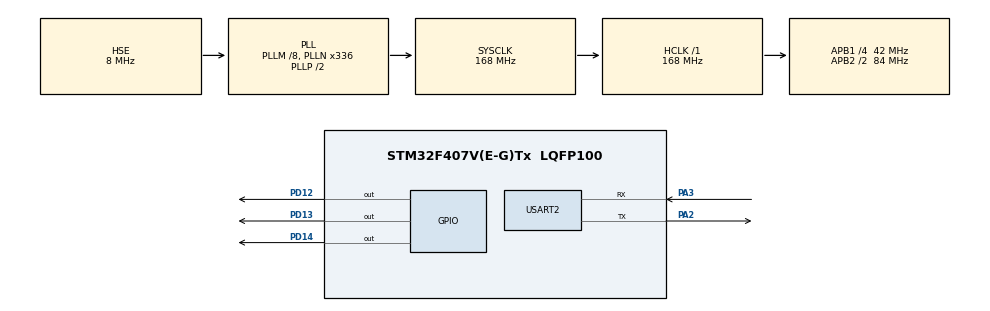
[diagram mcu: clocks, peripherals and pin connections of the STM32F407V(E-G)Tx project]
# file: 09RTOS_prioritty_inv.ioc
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FREERTOS.BinarySemaphores01=myBinarySem01,Dynamic,NULL,Available
FREERTOS.Tasks01=HPT,1,128,StartHPT,Default,NULL,Dynamic,NULL,NULL;MPT,0,128,StartMPT,Default,NULL,Dynamic,NULL,NULL;LPT,-1,128,StartLPT,Default,NULL,Dynamic,NULL,NULL
Mcu.Family=STM32F4
Mcu.Name=STM32F407V(E-G)Tx
Mcu.Package=LQFP100
NVIC.PriorityGroup=NVIC_PRIORITYGROUP_4
NVIC.USART2_IRQn=true\:5\:0\:false\:false\:true\:true\:true\:true\:true
PA13.Mode=Serial_Wire
PA13.Signal=SYS_JTMS-SWDIO
PA14.Mode=Serial_Wire
PA14.Signal=SYS_JTCK-SWCLK
PA2.Mode=Asynchronous
PA2.Signal=USART2_TX
PA3.Mode=Asynchronous
PA3.Signal=USART2_RX
PD12.Signal=GPIO_Output
PD13.Signal=GPIO_Output
PD14.Signal=GPIO_Output
PH0-OSC_IN.Mode=HSE-External-Oscillator
PH0-OSC_IN.Signal=RCC_OSC_IN
PH1-OSC_OUT.Mode=HSE-External-Oscillator
PH1-OSC_OUT.Signal=RCC_OSC_OUT
ProjectManager.HeapSize=0x200
ProjectManager.StackSize=0x400
ProjectManager.TargetToolchain=STM32CubeIDE
RCC.48MHZClocksFreq_Value=48000000
RCC.AHBFreq_Value=168000000
RCC.APB1CLKDivider=RCC_HCLK_DIV4
RCC.APB1Freq_Value=42000000
RCC.APB1TimFreq_Value=84000000
RCC.APB2CLKDivider=RCC_HCLK_DIV2
RCC.APB2Freq_Value=84000000
RCC.APB2TimFreq_Value=168000000
RCC.CortexFreq_Value=168000000
RCC.HCLKFreq_Value=168000000
RCC.HSE_VALUE=8000000
RCC.HSI_VALUE=16000000
RCC.PLLM=8
RCC.PLLN=336
RCC.PLLQ=7
RCC.PLLSourceVirtual=RCC_PLLSOURCE_HSE
RCC.SYSCLKFreq_VALUE=168000000
RCC.SYSCLKSource=RCC_SYSCLKSOURCE_PLLCLK
RCC.VCOOutputFreq_Value=336000000
USART2.VirtualMode=VM_ASYNC
VP_FREERTOS_VS_CMSIS_V1.Mode=CMSIS_V1
board=STM32F407G-DISC1

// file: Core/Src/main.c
/* USER CODE BEGIN Header */
/**
  ******************************************************************************
  * @file           : main.c
  * @brief          : Main program body
  ******************************************************************************
  * @attention
  *
  * Copyright (c) 2026 STMicroelectronics.
  * All rights reserved.
  *
  * This software is licensed under terms that can be found in the LICENSE file
  * in the root directory of this software component.
  * If no LICENSE file comes with this software, it is provided AS-IS.
  *
  ******************************************************************************
  */
/* USER CODE END Header */
#include "main.h"
#include "cmsis_os.h"

/* USER CODE BEGIN Includes */
#include "string.h"
/* USER CODE END Includes */

UART_HandleTypeDef huart2;

osThreadId HPTHandle;
osThreadId MPTHandle;
osThreadId LPTHandle;
osSemaphoreId myBinarySem01Handle;

void SystemClock_Config(void);
static void MX_GPIO_Init(void);
static void MX_USART2_UART_Init(void);
void StartHPT(void const * argument);
void StartMPT(void const * argument);
void StartLPT(void const * argument);

/* USER CODE BEGIN 0 */
void send_uart(char *str)
{
	osSemaphoreWait(myBinarySem01Handle, osWaitForever);
	osDelay(5000);
	HAL_UART_Transmit(&huart2, (uint8_t*)str,strlen(str), HAL_MAX_DELAY);
	osSemaphoreRelease(myBinarySem01Handle);
}

/* USER CODE END 0 */

int main(void)
{

  /* MCU Configuration--------------------------------------------------------*/

  /* Reset of all peripherals, Initializes the Flash interface and the Systick. */
  HAL_Init();

  /* Configure the system clock */
  SystemClock_Config();

  /* Initialize all configured peripherals */
  MX_GPIO_Init();
  MX_USART2_UART_Init();

  /* Create the semaphores(s) */
  /* definition and creation of myBinarySem01 */
  osSemaphoreDef(myBinarySem01);
  myBinarySem01Handle = osSemaphoreCreate(osSemaphore(myBinarySem01), 1);

  /* USER CODE BEGIN RTOS_SEMAPHORES */
  /* add semaphores, ... */
 if(myBinarySem01Handle  != NULL)
{
  char str[] = "BENARY SEMAPHORE CREATED\r\n";
  HAL_UART_Transmit(&huart2, (uint8_t*)str,strlen(str), HAL_MAX_DELAY);
 }

 osSemaphoreWait(myBinarySem01Handle, osWaitForever);

  /* USER CODE END RTOS_SEMAPHORES */

  /* Create the thread(s) */
  /* definition and creation of HPT */
  osThreadDef(HPT, StartHPT, osPriorityAboveNormal, 0, 128);
  HPTHandle = osThreadCreate(osThread(HPT), NULL);

  /* definition and creation of MPT */
  osThreadDef(MPT, StartMPT, osPriorityNormal, 0, 128);
  MPTHandle = osThreadCreate(osThread(MPT), NULL);

  /* definition and creation of LPT */
  osThreadDef(LPT, StartLPT, osPriorityBelowNormal, 0, 128);
  LPTHandle = osThreadCreate(osThread(LPT), NULL);

  /* USER CODE BEGIN RTOS_THREADS */
  /* add threads, ... */
  if(myBinarySem01Handle  != NULL)
   {
  	  char str[] = "BENARY SEMAPHORE CREATED\r\n";
	  HAL_UART_Transmit(&huart2, (uint8_t*)str,strlen(str), HAL_MAX_DELAY);
   }

  osSemaphoreRelease(myBinarySem01Handle);
  /* USER CODE END RTOS_THREADS */

  /* Start scheduler */
  osKernelStart();

  /* We should never get here as control is now taken by the scheduler */

  /* Infinite loop */
  while (1)
  {

  }
}

void SystemClock_Config(void)
{
  RCC_OscInitTypeDef RCC_OscInitStruct = {0};
  RCC_ClkInitTypeDef RCC_ClkInitStruct = {0};

  /** Configure the main internal regulator output voltage
  */
  __HAL_RCC_PWR_CLK_ENABLE();
  __HAL_PWR_VOLTAGESCALING_CONFIG(PWR_REGULATOR_VOLTAGE_SCALE1);

  /** Initializes the RCC Oscillators according to the specified parameters
  * in the RCC_OscInitTypeDef structure.
  */
  RCC_OscInitStruct.OscillatorType = RCC_OSCILLATORTYPE_HSE;
  RCC_OscInitStruct.HSEState = RCC_HSE_ON;
  RCC_OscInitStruct.PLL.PLLState = RCC_PLL_ON;
  RCC_OscInitStruct.PLL.PLLSource = RCC_PLLSOURCE_HSE;
  RCC_OscInitStruct.PLL.PLLM = 8;
  RCC_OscInitStruct.PLL.PLLN = 336;
  RCC_OscInitStruct.PLL.PLLP = RCC_PLLP_DIV2;
  RCC_OscInitStruct.PLL.PLLQ = 7;
  if (HAL_RCC_OscConfig(&RCC_OscInitStruct) != HAL_OK)
  {
    Error_Handler();
  }

  /** Initializes the CPU, AHB and APB buses clocks
  */
  RCC_ClkInitStruct.ClockType = RCC_CLOCKTYPE_HCLK|RCC_CLOCKTYPE_SYSCLK
                              |RCC_CLOCKTYPE_PCLK1|RCC_CLOCKTYPE_PCLK2;
  RCC_ClkInitStruct.SYSCLKSource = RCC_SYSCLKSOURCE_PLLCLK;
  RCC_ClkInitStruct.AHBCLKDivider = RCC_SYSCLK_DIV1;
  RCC_ClkInitStruct.APB1CLKDivider = RCC_HCLK_DIV4;
  RCC_ClkInitStruct.APB2CLKDivider = RCC_HCLK_DIV2;

  if (HAL_RCC_ClockConfig(&RCC_ClkInitStruct, FLASH_LATENCY_5) != HAL_OK)
  {
    Error_Handler();
  }
}

static void MX_USART2_UART_Init(void)
{

  huart2.Instance = USART2;
  huart2.Init.BaudRate = 115200;
  huart2.Init.WordLength = UART_WORDLENGTH_8B;
  huart2.Init.StopBits = UART_STOPBITS_1;
  huart2.Init.Parity = UART_PARITY_NONE;
  huart2.Init.Mode = UART_MODE_TX_RX;
  huart2.Init.HwFlowCtl = UART_HWCONTROL_NONE;
  huart2.Init.OverSampling = UART_OVERSAMPLING_16;
  if (HAL_UART_Init(&huart2) != HAL_OK)
  {
    Error_Handler();
  }

}

static void MX_GPIO_Init(void)
{
  GPIO_InitTypeDef GPIO_InitStruct = {0};

  /* GPIO Ports Clock Enable */
  __HAL_RCC_GPIOH_CLK_ENABLE();
  __HAL_RCC_GPIOA_CLK_ENABLE();
  __HAL_RCC_GPIOD_CLK_ENABLE();

  /*Configure GPIO pin Output Level */
  HAL_GPIO_WritePin(GPIOD, GPIO_PIN_12|GPIO_PIN_13|GPIO_PIN_14, GPIO_PIN_RESET);

  /*Configure GPIO pins : PD12 PD13 PD14 */
  GPIO_InitStruct.Pin = GPIO_PIN_12|GPIO_PIN_13|GPIO_PIN_14;
  GPIO_InitStruct.Mode = GPIO_MODE_OUTPUT_PP;
  GPIO_InitStruct.Pull = GPIO_NOPULL;
  GPIO_InitStruct.Speed = GPIO_SPEED_FREQ_LOW;
  HAL_GPIO_Init(GPIOD, &GPIO_InitStruct);

}

void StartHPT(void const * argument)
{
  /* USER CODE BEGIN 5 */
  /* Infinite loop */
	char *strtosend = "IN HTP -----------------------\r\n";
  for(;;)
  {
	  char *str = "ENTERED HPT\r\n";
	  HAL_UART_Transmit(&huart2, (uint8_t*)str,strlen(str), HAL_MAX_DELAY);

	  send_uart(strtosend);

	  char *str2 = "LEFT HPT\r\n";
	  HAL_UART_Transmit(&huart2, (uint8_t*)str2,strlen(str2), HAL_MAX_DELAY);

	  osDelay(1000);

//	  osSemaphoreRelease(myBinarySem01Handle);
//    osDelay(1000);
//
//    if(osSemaphoreWait(myBinarySem01Handle, osWaitForever) == osOK)
//   		  HAL_GPIO_TogglePin(GPIOD, GPIO_PIN_12);
//
//    osSemaphoreRelease(myBinarySem01Handle);
//       osDelay(1000);

  }
  /* USER CODE END 5 */
}

void StartMPT(void const * argument)
{
  /* USER CODE BEGIN StartMPT */
  /* Infinite loop */

  for(;;)
  {
	  char *str = "ENTERED HPT\r\n";
	  HAL_UART_Transmit(&huart2, (uint8_t*)str,strlen(str), HAL_MAX_DELAY);

	  char *str2 = "LEFT HPT\r\n";
	  HAL_UART_Transmit(&huart2, (uint8_t*)str2,strlen(str2), HAL_MAX_DELAY);

	  osDelay(1000);

//	  osSemaphoreRelease(myBinarySem01Handle);
//	      osDelay(1000);
//
//	      if(osSemaphoreWait(myBinarySem01Handle, osWaitForever) == osOK)
//	     		  HAL_GPIO_TogglePin(GPIOD, GPIO_PIN_13);
//
//	      osSemaphoreRelease(myBinarySem01Handle);
//	         osDelay(1000);

  }
  /* USER CODE END StartMPT */
}

void StartLPT(void const * argument)
{
  /* USER CODE BEGIN StartLPT */
  /* Infinite loop */
char *strtosend = "IN HTP -----------------------\r\n";

  for(;;)
  {
	  char *str = "ENTERED HPT\r\n";
	  HAL_UART_Transmit(&huart2, (uint8_t*)str,strlen(str), HAL_MAX_DELAY);

	  send_uart(strtosend);

	  char *str2 = "LEFT HPT\r\n";
	  HAL_UART_Transmit(&huart2, (uint8_t*)str2,strlen(str2), HAL_MAX_DELAY);

	  osDelay(1000);

//	  osSemaphoreRelease(myBinarySem01Handle);
//	      osDelay(1000);
//
//	      if(osSemaphoreWait(myBinarySem01Handle, osWaitForever) == osOK)
//	     		  HAL_GPIO_TogglePin(GPIOD, GPIO_PIN_14);
//
//	      osSemaphoreRelease(myBinarySem01Handle);
//	         osDelay(1000);

  }
  /* USER CODE END StartLPT */
}

void Error_Handler(void)
{
  __disable_irq();
  while (1)
  {
  }
}
